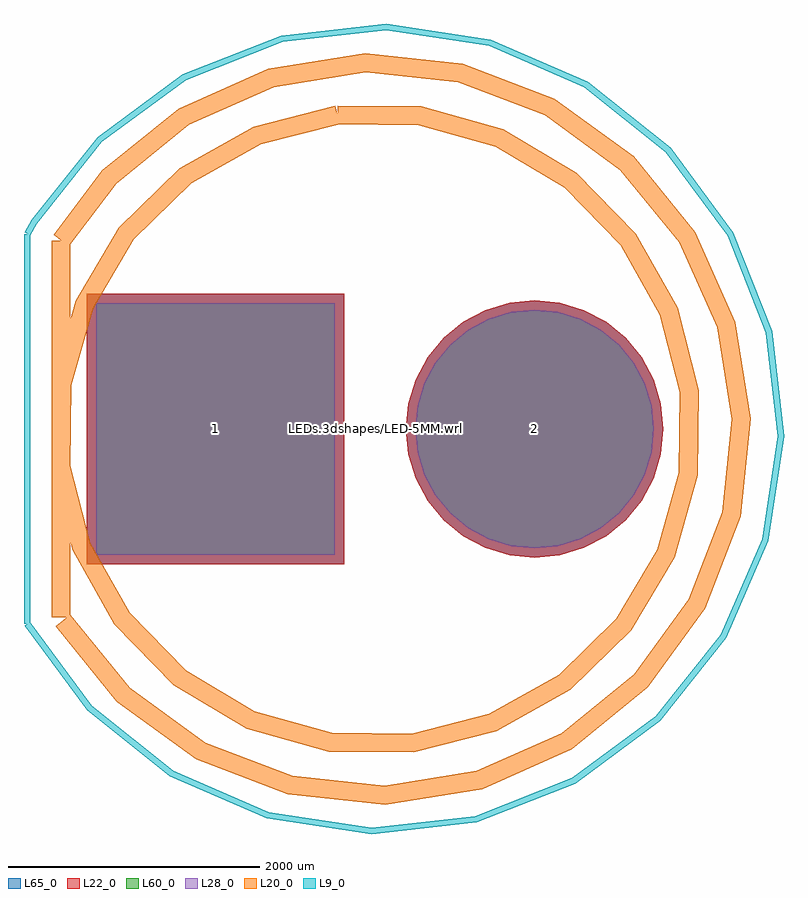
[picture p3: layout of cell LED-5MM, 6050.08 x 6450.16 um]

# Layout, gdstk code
import gdstk
lib = gdstk.Library(unit=1e-6, precision=1e-09)
def R(c, l, rs):  # rectangles x0, y0, x1, y1
    for r in rs: c.add(gdstk.rectangle(r[:2], r[2:], *l))
def P(c, l, *ps):  # polygons
    for p in ps: c.add(gdstk.Polygon(p, *l))
L9_0 = (9, 0)
L20_0 = (20, 0)
L22_0 = (22, 0)
L28_0 = (28, 0)
L60_0 = (60, 0)
L65_0 = (65, 0)

led_5mm = lib.new_cell('LED-5MM')
R(led_5mm, L22_0, [(-1025,-1075,1025,1075)])
P(led_5mm, L22_0, [(3565,0),(3545.305,199.968),(3486.977,392.251),(3392.256,569.459),(3264.784,724.784),(3109.459,852.256),(2932.251,946.977),(2739.968,1005.305),(2540,1025),(2340.032,1005.305),(2147.749,946.977),(1970.541,852.256),(1815.216,724.784),(1687.744,569.459),(1593.023,392.251),(1534.695,199.968),(1515,0),(1534.695,-199.968),(1593.023,-392.251),(1687.744,-569.459),(1815.216,-724.784),(1970.541,-852.256),(2147.749,-946.977),(2340.032,-1005.305),(2540,-1025),(2739.968,-1005.305),(2932.251,-946.977),(3109.459,-852.256),(3264.784,-724.784),(3392.256,-569.459),(3486.977,-392.251),(3545.305,-199.968)])
R(led_5mm, L28_0, [(-950,-1000,950,1000)])
P(led_5mm, L28_0, [(3490,0),(3471.746,185.336),(3417.686,363.549),(3329.896,527.792),(3211.751,671.751),(3067.792,789.896),(2903.549,877.686),(2725.336,931.746),(2540,950),(2354.664,931.746),(2176.451,877.686),(2012.208,789.896),(1868.249,671.751),(1750.104,527.792),(1662.314,363.549),(1608.254,185.336),(1590,0),(1608.254,-185.336),(1662.314,-363.549),(1750.104,-527.792),(1868.249,-671.751),(2012.208,-789.896),(2176.451,-877.686),(2354.664,-931.746),(2540,-950),(2725.336,-931.746),(2903.549,-877.686),(3067.792,-789.896),(3211.751,-671.751),(3329.896,-527.792),(3417.686,-363.549),(3471.746,-185.336)])
R(led_5mm, L60_0, [(-950,-1000,950,1000)])
P(led_5mm, L60_0, [(3490,0),(3471.746,185.336),(3417.686,363.549),(3329.896,527.792),(3211.751,671.751),(3067.792,789.896),(2903.549,877.686),(2725.336,931.746),(2540,950),(2354.664,931.746),(2176.451,877.686),(2012.208,789.896),(1868.249,671.751),(1750.104,527.792),(1662.314,363.549),(1608.254,185.336),(1590,0),(1608.254,-185.336),(1662.314,-363.549),(1750.104,-527.792),(1868.249,-671.751),(2012.208,-789.896),(2176.451,-877.686),(2354.664,-931.746),(2540,-950),(2725.336,-931.746),(2903.549,-877.686),(3067.792,-789.896),(3211.751,-671.751),(3329.896,-527.792),(3417.686,-363.549),(3471.746,-185.336)])
R(led_5mm, L65_0, [(-1025,-1075,1025,1075)])
P(led_5mm, L65_0, [(3565,0),(3545.305,199.968),(3486.977,392.251),(3392.256,569.459),(3264.784,724.784),(3109.459,852.256),(2932.251,946.977),(2739.968,1005.305),(2540,1025),(2340.032,1005.305),(2147.749,946.977),(1970.541,852.256),(1815.216,724.784),(1687.744,569.459),(1593.023,392.251),(1534.695,199.968),(1515,0),(1534.695,-199.968),(1593.023,-392.251),(1687.744,-569.459),(1815.216,-724.784),(1970.541,-852.256),(2147.749,-946.977),(2340.032,-1005.305),(2540,-1025),(2739.968,-1005.305),(2932.251,-946.977),(3109.459,-852.256),(3264.784,-724.784),(3392.256,-569.459),(3486.977,-392.251),(3545.305,-199.968)])
led_5mm.add(gdstk.FlexPath([(970,2500),(333.175,2337.169),(-239.808,2015.064),(-709.899,1555.635),(-1045.064,990.192),(-1222.46,357.27),(-1230,-300),(-1067.169,-936.825),(-745.064,-1509.808),(-285.635,-1979.899),(279.808,-2315.064),(912.73,-2492.46),(1570,-2500),(2206.825,-2337.169),(2779.808,-2015.064),(3249.899,-1555.635),(3585.064,-990.192),(3762.46,-357.27),(3770,300),(3607.169,936.825),(3285.064,1509.808),(2825.635,1979.899),(2260.192,2315.064),(1627.27,2492.46),(970,2500)], 149.998, ends="flush", simple_path=True, layer=20, datatype=0))  # L20_0
led_5mm.add(gdstk.FlexPath([(-1230,-1500),(-1230,1500)], 149.998, ends="flush", simple_path=True, layer=20, datatype=0))  # L20_0
led_5mm.add(gdstk.FlexPath([(-1214.887,-1524.904),(-735.542,-2116.08),(-119.523,-2563.049),(591.189,-2835.351),(1348.162,-2914.427),(2099.808,-2794.891),(2794.904,-2484.887),(3386.08,-2005.543),(3833.049,-1389.523),(4105.351,-678.811),(4184.428,78.162),(4064.891,829.808),(3754.887,1524.904),(3275.543,2116.081),(2659.524,2563.05),(1948.811,2835.351),(1191.838,2914.428),(440.192,2794.891),(-254.904,2484.888),(-846.081,2005.543),(-1230,1500)], 149.998, ends="flush", simple_path=True, layer=20, datatype=0))  # L20_0
led_5mm.add(gdstk.FlexPath([(-1500,-1550),(-1003.423,-2221.878),(-349.871,-2742.339),(416.117,-3075.914),(1242.339,-3199.871),(2072.492,-3105.762),(2850,-2800),(3521.878,-2303.423),(4042.339,-1649.871),(4375.914,-883.883),(4499.871,-57.661),(4405.761,772.492),(4100,1550),(3603.422,2221.878),(2949.871,2742.339),(2183.883,3075.914),(1357.661,3199.87),(527.508,3105.761),(-250,2799.999),(-921.878,2303.422),(-1442.339,1649.871),(-1498.248,1553.159)], 50, ends="flush", simple_path=True, layer=9, datatype=0))  # L9_0
led_5mm.add(gdstk.FlexPath([(-1500,1550),(-1500,-1550)], 50, ends="flush", simple_path=True, layer=9, datatype=0))  # L9_0
led_5mm.add(gdstk.Label('LEDs.3dshapes/LED-5MM.wrl', (1270,0), layer=12, texttype=0))
led_5mm.add(gdstk.Label('2', (2540,0), layer=28, texttype=0))
led_5mm.add(gdstk.Label('1', (0,0), layer=28, texttype=0))
led_5mm.add(gdstk.Label('K', (-1905,-1905), layer=9, texttype=0))
led_5mm.add(gdstk.Label('type', (1524,3937), layer=9, texttype=0))
led_5mm.add(gdstk.Label('devicename', (1524,-4064), layer=9, texttype=0))

lib.write_gds('LED-5MM.gds')
